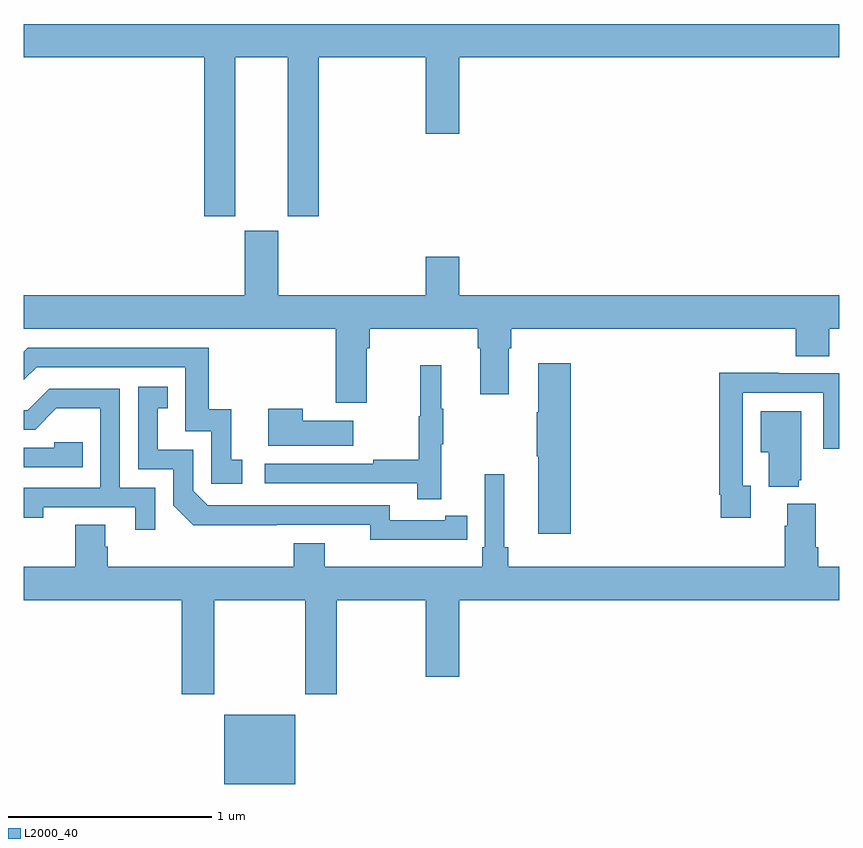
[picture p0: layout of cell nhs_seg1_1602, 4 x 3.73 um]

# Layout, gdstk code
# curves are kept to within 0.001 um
import gdstk
lib = gdstk.Library(unit=1e-6, precision=1e-09)
def R(c, l, rs):  # rectangles x0, y0, x1, y1
    for r in rs: c.add(gdstk.rectangle(r[:2], r[2:], *l))
def P(c, l, *ps):  # polygons
    for p in ps: c.add(gdstk.Polygon(p, *l))
L2000_40 = (2000, 40)

nhs_seg1_1602 = lib.new_cell('nhs_seg1_1602')
R(nhs_seg1_1602, L2000_40, [(199.982,516.199,200.332,516.538)])
P(nhs_seg1_1602, L2000_40, [(200.038,519.764),(200.294,519.764),(200.294,518.985),(200.447,518.985),(200.447,519.764),(200.972,519.764),(200.972,519.39),(201.136,519.39),(201.136,519.764),(203,519.764),(203,519.928),(199,519.928),(199,519.764),(199.886,519.764),(199.886,518.985),(200.038,518.985)],
  [(200.683,518.336),(200.696,518.336),(200.696,518.432),(201.227,518.432),(201.227,518.336),(201.239,518.336),(201.239,518.112),(201.379,518.112),(201.379,518.336),(201.392,518.336),(201.392,518.432),(202.787,518.432),(202.787,518.299),(202.952,518.299),(202.952,518.432),(203,518.432),(203,518.596),(201.136,518.596),(201.136,518.785),(200.972,518.785),(200.972,518.596),(200.248,518.596),(200.248,518.913),(200.084,518.913),(200.084,518.596),(199,518.596),(199,518.432),(200.531,518.432),(200.531,518.07),(200.683,518.07)],
  [(200.071,517.791),(200.018,517.791),(200.018,518.038),(199.907,518.038),(199.907,518.34),(199.02,518.34),(199,518.32),(199,518.182),(199.062,518.244),(199.791,518.244),(199.791,517.929),(199.92,517.929),(199.92,517.671),(200.071,517.671)],
  [(201.683,518.263),(201.524,518.263),(201.524,518.024),(201.517,518.024),(201.517,517.807),(201.524,517.807),(201.524,517.428),(201.683,517.428)],
  [(201.047,517.867),(201.058,517.867),(201.058,518.041),(201.047,518.041),(201.047,518.254),(200.944,518.254),(200.944,518.004),(200.937,518.004),(200.937,517.79),(200.713,517.79),(200.713,517.77),(200.181,517.77),(200.181,517.674),(200.929,517.674),(200.929,517.596),(201.047,517.596)],
  [(202.567,517.662),(202.527,517.662),(202.527,518.118),(202.923,518.118),(202.923,517.845),(203,517.845),(203,518.214),(202.703,518.214),(202.703,518.216),(202.411,518.216),(202.411,517.618),(202.419,517.618),(202.419,517.506),(202.567,517.506)],
  [(201.068,517.398),(201.176,517.398),(201.176,517.514),(201.068,517.514),(201.068,517.494),(200.796,517.494),(200.796,517.566),(199.902,517.566),(199.83,517.638),(199.83,517.839),(199.657,517.839),(199.657,518.043),(199.706,518.043),(199.706,518.149),(199.56,518.149),(199.56,517.743),(199.734,517.743),(199.734,517.566),(199.832,517.469),(200.7,517.47),(200.7,517.397)],
  [(199.644,517.653),(199.47,517.653),(199.47,518.139),(199.124,518.139),(199.019,518.034),(199,518.034),(199,517.938),(199.056,517.938),(199.16,518.042),(199.374,518.042),(199.374,517.653),(199,517.653),(199,517.506),(199.096,517.506),(199.096,517.557),(199.547,517.557),(199.547,517.446),(199.644,517.446)],
  [(200.617,517.981),(200.369,517.981),(200.369,518.041),(200.198,518.041),(200.198,517.859),(200.617,517.859)],
  [(202.802,517.689),(202.813,517.689),(202.813,518.029),(202.616,518.029),(202.616,517.826),(202.655,517.826),(202.655,517.658),(202.802,517.658)],
  [(199.289,517.875),(199.149,517.875),(199.149,517.848),(199,517.848),(199,517.752),(199.289,517.752)],
  [(199.935,517.1),(200.38,517.1),(200.38,516.639),(200.535,516.639),(200.535,517.1),(200.972,517.1),(200.972,516.726),(201.136,516.726),(201.136,517.1),(203,517.1),(203,517.264),(202.898,517.264),(202.898,517.36),(202.885,517.36),(202.885,517.573),(202.745,517.573),(202.745,517.466),(202.733,517.466),(202.733,517.264),(201.377,517.264),(201.377,517.36),(201.358,517.36),(201.358,517.72),(201.261,517.72),(201.261,517.36),(201.248,517.36),(201.248,517.264),(200.476,517.264),(200.476,517.381),(200.324,517.381),(200.324,517.264),(199.412,517.264),(199.412,517.362),(199.399,517.362),(199.399,517.472),(199.252,517.472),(199.252,517.264),(199,517.264),(199,517.1),(199.775,517.1),(199.775,516.639),(199.935,516.639)])

lib.write_gds('nhs_seg1_1602.gds')
